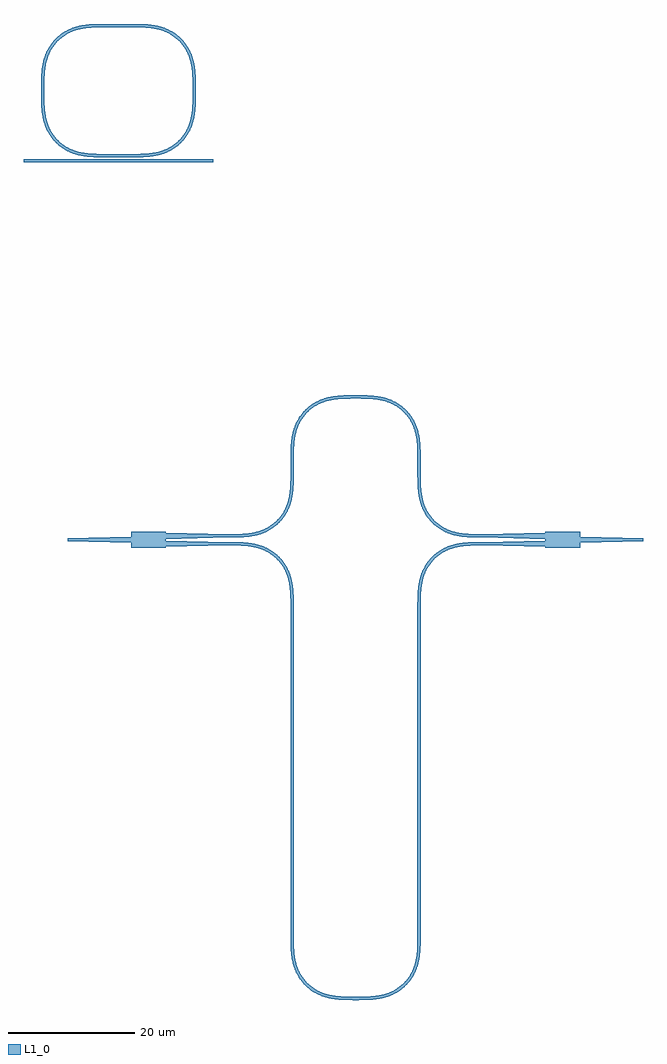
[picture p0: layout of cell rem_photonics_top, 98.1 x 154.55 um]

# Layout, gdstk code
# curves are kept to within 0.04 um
from math import pi, radians
import gdstk
lib = gdstk.Library(unit=1e-6, precision=1e-09)
def R(c, l, rs):  # rectangles x0, y0, x1, y1
    for r in rs: c.add(gdstk.rectangle(r[:2], r[2:], *l))
def P(c, l, *ps):  # polygons
    for p in ps: c.add(gdstk.Polygon(p, *l))
L1_0 = (1, 0)

coupler_ring_gdsfactoryp = lib.new_cell('coupler_ring_gdsfactorypcomponentspcouplerspcoupler_rin_40eca32b')
R(coupler_ring_gdsfactoryp, L1_0, [(-17,-0.25,13,0.25)])
P(coupler_ring_gdsfactoryp, L1_0, [(-4.416,0.576),(-6.935,0.682),(-7.915,0.829),(-8.883,1.07),(-9.819,1.428),(-10.579,1.834),(-11.397,2.416),(-12.029,3),(-12.588,3.655),(-13.137,4.495),(-13.567,5.403),(-13.836,6.217),(-14.048,7.19),(-14.171,8.172),(-14.25,10.826),(-13.75,10.826),(-13.731,9.171),(-13.647,7.945),(-13.48,6.874),(-13.194,5.836),(-12.887,5.095),(-12.495,4.395),(-11.575,3.251),(-10.869,2.637),(-10.203,2.191),(-9.488,1.827),(-8.735,1.548),(-7.952,1.346),(-6.881,1.179),(-4.415,1.076),(1.243,1.084),(3.016,1.195),(4.084,1.375),(4.99,1.632),(5.731,1.939),(6.543,2.404),(7.283,2.976),(7.938,3.644),(8.495,4.395),(8.999,5.338),(9.353,6.349),(9.596,7.541),(9.719,8.898),(9.75,10.826),(10.25,10.826),(10.225,9.014),(10.128,7.751),(9.939,6.632),(9.618,5.537),(9.137,4.495),(8.5,3.541),(7.826,2.797),(6.939,2.07),(6.078,1.553),(5.289,1.208),(4.332,0.919),(3.216,0.716),(1.253,0.584)])

bend_euler_gdsfactorypco = lib.new_cell('bend_euler_gdsfactorypcomponentspbendspbend_euler_R10_A_a86bc407')
P(bend_euler_gdsfactorypco, L1_0, [(0,-0.25),(0,0.25),(1.655,0.269),(2.881,0.353),(3.952,0.52),(4.99,0.806),(5.731,1.113),(6.431,1.505),(7.575,2.425),(8.495,3.569),(8.887,4.269),(9.194,5.01),(9.48,6.048),(9.647,7.119),(9.731,8.345),(9.75,10),(10.25,10),(10.158,7.205),(10.023,6.224),(9.797,5.254),(9.457,4.312),(9.066,3.545),(8.5,2.715),(7.928,2.072),(7.285,1.5),(6.455,0.934),(5.688,0.543),(4.746,0.203),(3.776,-0.023),(2.795,-0.158)])

straight_gdsfactorypcomp = lib.new_cell('straight_gdsfactorypcomponentspwaveguidespstraight_L4_N_a6eac62c')
R(straight_gdsfactorypcomp, L1_0, [(0,-0.25,4,0.25)])

c_straight_gdsfactorypcomp = lib.new_cell('straight_gdsfactorypcomponentspwaveguidespstraight_L0p6_058e2168')
R(c_straight_gdsfactorypcomp, L1_0, [(0,-0.25,0.6,0.25)])

ring_single_gdsfactorypc = lib.new_cell('ring_single_gdsfactorypcomponentspringspring_single_G0p_46d82e68')
ring_single_gdsfactorypc.add(gdstk.Reference(coupler_ring_gdsfactoryp, (0,0)))
ring_single_gdsfactorypc.add(gdstk.Reference(bend_euler_gdsfactorypco, (-4,21.426), rotation=pi))
ring_single_gdsfactorypc.add(gdstk.Reference(bend_euler_gdsfactorypco, (10,11.426), rotation=pi/2))
ring_single_gdsfactorypc.add(gdstk.Reference(straight_gdsfactorypcomp, (0,21.426), rotation=pi))
ring_single_gdsfactorypc.add(gdstk.Reference(c_straight_gdsfactorypcomp, (-14,10.826), rotation=pi/2))
ring_single_gdsfactorypc.add(gdstk.Reference(c_straight_gdsfactorypcomp, (10,11.426), rotation=3*pi/2))

mmi1x2_gdsfactorypcompon = lib.new_cell('mmi1x2_gdsfactorypcomponentspmmispmmi1x2_WNone_WT1_LT10_1f097353')
P(mmi1x2_gdsfactorypcompon, L1_0, [(0,-1.25),(0,-0.5),(-10,-0.25),(-10,0.25),(0,0.5),(0,1.25),(5.5,1.25),(5.5,1.125),(15.5,0.875),(15.5,0.375),(5.5,0.125),(5.5,-0.125),(15.5,-0.375),(15.5,-0.875),(5.5,-1.125),(5.5,-1.25)])

c_bend_euler_gdsfactorypco = lib.new_cell('bend_euler_gdsfactorypcomponentspbendspbend_euler_RNone_387600b2')
P(c_bend_euler_gdsfactorypco, L1_0, [(0,-0.25),(0,0.25),(1.655,0.269),(2.881,0.353),(3.952,0.52),(4.99,0.806),(5.731,1.113),(6.431,1.505),(7.575,2.425),(8.495,3.569),(8.887,4.269),(9.194,5.01),(9.48,6.048),(9.647,7.119),(9.731,8.345),(9.75,10),(10.25,10),(10.158,7.205),(10.023,6.224),(9.797,5.254),(9.457,4.312),(9.066,3.545),(8.5,2.715),(7.928,2.072),(7.285,1.5),(6.455,0.934),(5.688,0.543),(4.746,0.203),(3.776,-0.023),(2.795,-0.158)])

c_straight_gdsfactorypcomp_ = lib.new_cell('straight_gdsfactorypcomponentspwaveguidespstraight_L2_N_815d3d03')
R(c_straight_gdsfactorypcomp_, L1_0, [(0,-0.25,2,0.25)])

c_straight_gdsfactorypcomp__ = lib.new_cell('straight_gdsfactorypcomponentspwaveguidespstraight_L52__6bd53587')
R(c_straight_gdsfactorypcomp__, L1_0, [(0,-0.25,52,0.25)])

c_straight_gdsfactorypcomp___ = lib.new_cell('straight_gdsfactorypcomponentspwaveguidespstraight_L0p1_2d7d3dfa')
R(c_straight_gdsfactorypcomp___, L1_0, [(0,-0.25,0.1,0.25)])

mzi_gdsfactorypcomponent = lib.new_cell('mzi_gdsfactorypcomponentspmzispmzi_DL100_LY2_LX0p1_Bben_a12e599a')
mzi_gdsfactorypcomponent.add(gdstk.Reference(mmi1x2_gdsfactorypcompon, (0,0)))
mzi_gdsfactorypcomponent.add(gdstk.Reference(c_bend_euler_gdsfactorypco, (15.5,-0.625), x_reflection=True))
mzi_gdsfactorypcomponent.add(gdstk.Reference(c_bend_euler_gdsfactorypco, (25.5,-62.625), rotation=3*pi/2))
mzi_gdsfactorypcomponent.add(gdstk.Reference(c_bend_euler_gdsfactorypco, (15.5,0.625)))
mzi_gdsfactorypcomponent.add(gdstk.Reference(c_bend_euler_gdsfactorypco, (35.5,22.625), rotation=pi))
mzi_gdsfactorypcomponent.add(gdstk.Reference(c_bend_euler_gdsfactorypco, (45.6,12.625), rotation=pi/2))
mzi_gdsfactorypcomponent.add(gdstk.Reference(c_bend_euler_gdsfactorypco, (45.6,10.625), rotation=3*pi/2))
mzi_gdsfactorypcomponent.add(gdstk.Reference(c_bend_euler_gdsfactorypco, (35.6,-72.625)))
mzi_gdsfactorypcomponent.add(gdstk.Reference(c_bend_euler_gdsfactorypco, (55.6,-0.625), rotation=pi))
mzi_gdsfactorypcomponent.add(gdstk.Reference(c_straight_gdsfactorypcomp_, (25.5,10.625), rotation=pi/2))
mzi_gdsfactorypcomponent.add(gdstk.Reference(c_straight_gdsfactorypcomp__, (25.5,-10.625), rotation=3*pi/2))
mzi_gdsfactorypcomponent.add(gdstk.Reference(c_straight_gdsfactorypcomp___, (35.5,22.625)))
mzi_gdsfactorypcomponent.add(gdstk.Reference(c_straight_gdsfactorypcomp___, (35.5,-72.625)))
mzi_gdsfactorypcomponent.add(gdstk.Reference(mmi1x2_gdsfactorypcompon, (71.1,0), rotation=pi, x_reflection=True))
mzi_gdsfactorypcomponent.add(gdstk.Reference(c_straight_gdsfactorypcomp_, (45.6,10.625), rotation=pi/2))
mzi_gdsfactorypcomponent.add(gdstk.Reference(c_straight_gdsfactorypcomp__, (45.6,-62.625), rotation=pi/2))

rem_photonics_top = lib.new_cell('rem_photonics_top')
rem_photonics_top.add(gdstk.Reference(ring_single_gdsfactorypc, (0,0)))
rem_photonics_top.add(gdstk.Reference(mzi_gdsfactorypcomponent, (0,-60)))

lib.write_gds('rem_photonics_top.gds')
